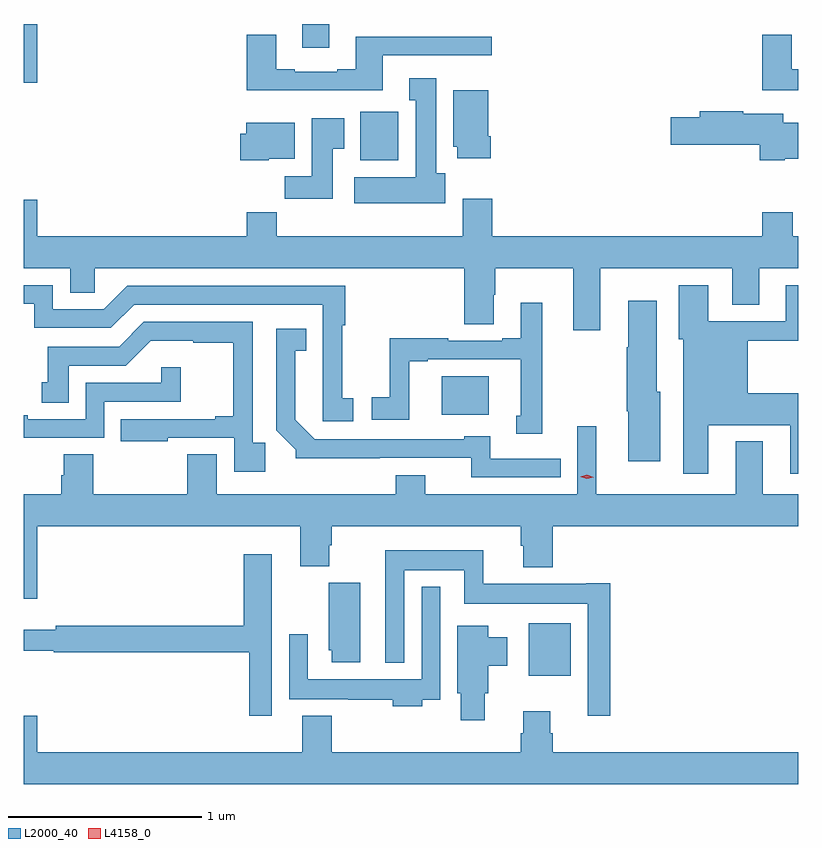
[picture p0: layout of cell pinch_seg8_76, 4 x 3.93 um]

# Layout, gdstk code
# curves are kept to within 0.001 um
import gdstk
lib = gdstk.Library(unit=1e-6, precision=1e-09)
def R(c, l, rs):  # rectangles x0, y0, x1, y1
    for r in rs: c.add(gdstk.rectangle(r[:2], r[2:], *l))
def P(c, l, *ps):  # polygons
    for p in ps: c.add(gdstk.Polygon(p, *l))
L2000_40 = (2000, 40)
L4158_0 = (4158, 0)

pinch_seg8_76 = lib.new_cell('pinch_seg8_76')
R(pinch_seg8_76, L2000_40, [(922.955,1091.75,923.17,1092.022), (922.505,1093.1,922.747,1093.297), (922.085,1094.414,922.281,1094.665), (920.346,1094.814,920.416,1095.117), (921.785,1094.994,921.925,1095.117)])
P(pinch_seg8_76, L2000_40, [(922.201,1094.955),(922.762,1094.955),(922.762,1095.052),(922.061,1095.052),(922.061,1094.884),(921.965,1094.884),(921.965,1094.871),(921.745,1094.871),(921.745,1094.884),(921.649,1094.884),(921.649,1095.061),(921.497,1095.061),(921.497,1094.774),(922.201,1094.774)],
  [(924.346,1094.884),(924.313,1094.884),(924.313,1095.061),(924.161,1095.061),(924.161,1094.774),(924.346,1094.774)],
  [(922.522,1094.346),(922.477,1094.346),(922.477,1094.836),(922.337,1094.836),(922.337,1094.723),(922.37,1094.723),(922.37,1094.326),(922.053,1094.326),(922.053,1094.192),(922.522,1094.192)],
  [(922.757,1094.536),(922.744,1094.536),(922.744,1094.776),(922.565,1094.776),(922.565,1094.484),(922.586,1094.484),(922.586,1094.424),(922.757,1094.424)],
  [(924.276,1094.42),(924.346,1094.42),(924.346,1094.608),(924.268,1094.608),(924.268,1094.653),(924.062,1094.653),(924.062,1094.666),(923.837,1094.666),(923.837,1094.636),(923.688,1094.636),(923.688,1094.494),(924.146,1094.494),(924.146,1094.414),(924.276,1094.414)],
  [(921.943,1094.473),(922,1094.473),(922,1094.629),(921.833,1094.629),(921.833,1094.332),(921.694,1094.332),(921.694,1094.214),(921.943,1094.214)],
  [(921.612,1094.42),(921.745,1094.42),(921.745,1094.608),(921.494,1094.608),(921.494,1094.55),(921.464,1094.55),(921.464,1094.414),(921.612,1094.414)],
  [(923.323,1093.856),(924.005,1093.856),(924.005,1093.666),(924.145,1093.666),(924.145,1093.856),(924.346,1093.856),(924.346,1094.02),(924.317,1094.02),(924.317,1094.144),(924.161,1094.144),(924.161,1094.02),(922.766,1094.02),(922.766,1094.215),(922.613,1094.215),(922.613,1094.02),(921.653,1094.02),(921.653,1094.144),(921.497,1094.144),(921.497,1094.02),(920.416,1094.02),(920.416,1094.209),(920.346,1094.209),(920.346,1093.856),(920.585,1093.856),(920.585,1093.729),(920.712,1093.729),(920.712,1093.856),(922.622,1093.856),(922.622,1093.567),(922.774,1093.567),(922.774,1093.718),(922.782,1093.718),(922.782,1093.856),(923.183,1093.856),(923.183,1093.536),(923.323,1093.536)],
  [(923.881,1093.046),(924.305,1093.046),(924.305,1092.795),(924.346,1092.795),(924.346,1093.21),(924.085,1093.21),(924.085,1093.48),(924.346,1093.48),(924.346,1093.768),(924.281,1093.768),(924.281,1093.581),(923.881,1093.581),(923.881,1093.768),(923.729,1093.768),(923.729,1093.488),(923.753,1093.488),(923.753,1092.795),(923.881,1092.795)],
  [(922.048,1093.185),(921.99,1093.185),(921.99,1093.561),(922.007,1093.561),(922.007,1093.764),(920.88,1093.764),(920.76,1093.644),(920.496,1093.644),(920.496,1093.767),(920.346,1093.767),(920.346,1093.671),(920.4,1093.671),(920.4,1093.548),(920.796,1093.548),(920.916,1093.668),(921.891,1093.668),(921.89,1093.065),(922.048,1093.065)],
  [(923.632,1093.218),(923.614,1093.218),(923.614,1093.687),(923.468,1093.687),(923.468,1093.448),(923.461,1093.448),(923.461,1093.118),(923.468,1093.118),(923.468,1092.86),(923.632,1092.86)],
  [(923.023,1093.678),(922.913,1093.678),(922.913,1093.495),(922.817,1093.495),(922.817,1093.482),(922.538,1093.482),(922.538,1093.495),(922.237,1093.495),(922.237,1093.19),(922.143,1093.19),(922.143,1093.074),(922.336,1093.074),(922.336,1093.374),(922.432,1093.374),(922.432,1093.386),(922.913,1093.386),(922.913,1093.095),(922.889,1093.095),(922.889,1093.001),(923.023,1093.001)],
  [(921.593,1092.955),(921.528,1092.955),(921.528,1093.578),(920.967,1093.578),(920.838,1093.449),(920.471,1093.449),(920.471,1093.266),(920.438,1093.266),(920.438,1093.162),(920.578,1093.162),(920.578,1093.353),(920.874,1093.353),(921.002,1093.481),(921.221,1093.481),(921.221,1093.47),(921.427,1093.47),(921.427,1093.09),(921.335,1093.09),(921.335,1093.077),(920.848,1093.077),(920.848,1092.962),(921.091,1092.962),(921.091,1092.981),(921.432,1092.981),(921.432,1092.804),(921.593,1092.804)],
  [(923.12,1092.873),(922.756,1092.873),(922.756,1092.988),(922.62,1092.988),(922.62,1092.972),(921.849,1092.972),(921.748,1093.073),(921.748,1093.43),(921.806,1093.43),(921.806,1093.543),(921.651,1093.543),(921.651,1093.018),(921.75,1092.919),(921.75,1092.875),(922.657,1092.876),(922.657,1092.777),(923.12,1092.777)],
  [(920.763,1093.167),(921.158,1093.167),(921.158,1093.345),(921.057,1093.345),(921.057,1093.263),(920.667,1093.263),(920.667,1093.077),(920.368,1093.077),(920.368,1093.097),(920.346,1093.097),(920.346,1092.981),(920.763,1092.981)],
  [(920.416,1092.524),(921.773,1092.524),(921.773,1092.316),(921.925,1092.316),(921.925,1092.425),(921.938,1092.425),(921.938,1092.524),(922.913,1092.524),(922.913,1092.423),(922.925,1092.423),(922.925,1092.311),(923.078,1092.311),(923.078,1092.524),(924.346,1092.524),(924.346,1092.688),(924.163,1092.688),(924.163,1092.961),(924.023,1092.961),(924.023,1092.688),(923.302,1092.688),(923.302,1093.039),(923.205,1093.039),(923.205,1092.688),(922.42,1092.688),(922.42,1092.787),(922.268,1092.787),(922.268,1092.688),(921.343,1092.688),(921.343,1092.896),(921.191,1092.896),(921.191,1092.688),(920.705,1092.688),(920.705,1092.896),(920.552,1092.896),(920.552,1092.786),(920.54,1092.786),(920.54,1092.688),(920.346,1092.688),(920.346,1092.15),(920.416,1092.15)],
  [(923.375,1092.229),(923.252,1092.229),(923.252,1092.226),(922.718,1092.226),(922.718,1092.4),(922.214,1092.4),(922.214,1091.819),(922.311,1091.819),(922.311,1092.296),(922.62,1092.296),(922.62,1092.122),(923.259,1092.122),(923.259,1091.544),(923.375,1091.544)],
  [(921.627,1091.995),(921.628,1091.995),(921.628,1092.379),(921.482,1092.379),(921.482,1092.008),(920.512,1092.008),(920.512,1091.989),(920.346,1091.989),(920.346,1091.88),(920.501,1091.88),(920.501,1091.872),(921.511,1091.872),(921.511,1091.544),(921.627,1091.544)],
  [(922.084,1092.231),(921.92,1092.231),(921.92,1091.883),(921.938,1091.883),(921.938,1091.82),(922.084,1091.82)],
  [(922.405,1091.628),(922.497,1091.628),(922.497,1092.211),(922.401,1092.211),(922.401,1091.734),(921.813,1091.734),(921.813,1091.965),(921.717,1091.965),(921.717,1091.63),(922.021,1091.63),(922.021,1091.628),(922.253,1091.628),(922.253,1091.594),(922.405,1091.594)],
  [(922.726,1091.661),(922.744,1091.661),(922.744,1091.803),(922.843,1091.803),(922.843,1091.95),(922.744,1091.95),(922.744,1092.01),(922.586,1092.01),(922.586,1091.661),(922.604,1091.661),(922.604,1091.52),(922.726,1091.52)],
  [(924.346,1091.356),(923.078,1091.356),(923.078,1091.454),(923.065,1091.454),(923.065,1091.569),(922.925,1091.569),(922.925,1091.454),(922.913,1091.454),(922.913,1091.356),(921.938,1091.356),(921.938,1091.545),(921.785,1091.545),(921.785,1091.356),(920.416,1091.356),(920.416,1091.545),(920.346,1091.545),(920.346,1091.192),(924.346,1091.192)])
P(pinch_seg8_76, L4158_0, [(923.254,1092.768),(923.219,1092.779),(923.218,1092.779),(923.219,1092.779),(923.254,1092.788),(923.289,1092.776),(923.29,1092.776),(923.289,1092.776)])

lib.write_gds('pinch_seg8_76.gds')
